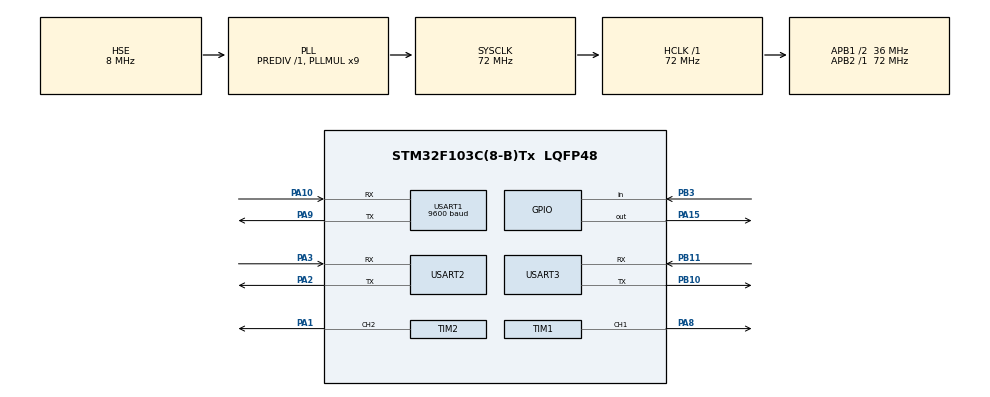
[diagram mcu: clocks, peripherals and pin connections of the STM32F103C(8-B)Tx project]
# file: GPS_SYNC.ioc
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Dma.Request0=USART3_TX
Dma.Request1=USART3_RX
Dma.Request2=USART2_RX
Dma.Request3=USART2_TX
Dma.USART2_RX.2.Direction=DMA_PERIPH_TO_MEMORY
Dma.USART2_RX.2.Instance=DMA1_Channel6
Dma.USART2_RX.2.MemDataAlignment=DMA_MDATAALIGN_BYTE
Dma.USART2_RX.2.MemInc=DMA_MINC_ENABLE
Dma.USART2_RX.2.Mode=DMA_CIRCULAR
Dma.USART2_RX.2.PeriphDataAlignment=DMA_PDATAALIGN_BYTE
Dma.USART2_RX.2.PeriphInc=DMA_PINC_DISABLE
Dma.USART2_RX.2.Priority=DMA_PRIORITY_VERY_HIGH
Dma.USART2_TX.3.Direction=DMA_MEMORY_TO_PERIPH
Dma.USART2_TX.3.Instance=DMA1_Channel7
Dma.USART2_TX.3.MemDataAlignment=DMA_MDATAALIGN_BYTE
Dma.USART2_TX.3.MemInc=DMA_MINC_ENABLE
Dma.USART2_TX.3.Mode=DMA_NORMAL
Dma.USART2_TX.3.PeriphDataAlignment=DMA_PDATAALIGN_BYTE
Dma.USART2_TX.3.PeriphInc=DMA_PINC_DISABLE
Dma.USART2_TX.3.Priority=DMA_PRIORITY_VERY_HIGH
Dma.USART3_RX.1.Direction=DMA_PERIPH_TO_MEMORY
Dma.USART3_RX.1.Instance=DMA1_Channel3
Dma.USART3_RX.1.MemDataAlignment=DMA_MDATAALIGN_BYTE
Dma.USART3_RX.1.MemInc=DMA_MINC_ENABLE
Dma.USART3_RX.1.Mode=DMA_CIRCULAR
Dma.USART3_RX.1.PeriphDataAlignment=DMA_PDATAALIGN_BYTE
Dma.USART3_RX.1.PeriphInc=DMA_PINC_DISABLE
Dma.USART3_RX.1.Priority=DMA_PRIORITY_VERY_HIGH
Dma.USART3_TX.0.Direction=DMA_MEMORY_TO_PERIPH
Dma.USART3_TX.0.Instance=DMA1_Channel2
Dma.USART3_TX.0.MemDataAlignment=DMA_MDATAALIGN_BYTE
Dma.USART3_TX.0.MemInc=DMA_MINC_ENABLE
Dma.USART3_TX.0.Mode=DMA_NORMAL
Dma.USART3_TX.0.PeriphDataAlignment=DMA_PDATAALIGN_BYTE
Dma.USART3_TX.0.PeriphInc=DMA_PINC_DISABLE
Dma.USART3_TX.0.Priority=DMA_PRIORITY_VERY_HIGH
Mcu.Family=STM32F1
Mcu.Name=STM32F103C(8-B)Tx
Mcu.Package=LQFP48
NVIC.DMA1_Channel2_IRQn=true\:0\:0\:false\:false\:true\:false\:true\:true
NVIC.DMA1_Channel3_IRQn=true\:0\:0\:false\:false\:true\:false\:true\:true
NVIC.DMA1_Channel6_IRQn=true\:0\:0\:false\:false\:true\:false\:true\:true
NVIC.DMA1_Channel7_IRQn=true\:0\:0\:false\:false\:true\:false\:true\:true
NVIC.PriorityGroup=NVIC_PRIORITYGROUP_4
NVIC.TIM1_UP_IRQn=true\:0\:0\:false\:false\:true\:true\:true\:true
NVIC.TIM2_IRQn=true\:0\:0\:false\:false\:true\:true\:true\:true
NVIC.TIM3_IRQn=true\:0\:0\:false\:false\:true\:true\:true\:true
NVIC.TIM4_IRQn=true\:0\:0\:false\:false\:true\:true\:true\:true
NVIC.USART1_IRQn=true\:0\:0\:false\:false\:true\:true\:true\:true
NVIC.USART2_IRQn=true\:0\:0\:false\:false\:true\:true\:true\:true
NVIC.USART3_IRQn=true\:0\:0\:false\:false\:true\:true\:true\:true
PA1.Signal=S_TIM2_CH2
PA10.Mode=Asynchronous
PA10.Signal=USART1_RX
PA13.Mode=Serial_Wire
PA13.Signal=SYS_JTMS-SWDIO
PA14.Mode=Serial_Wire
PA14.Signal=SYS_JTCK-SWCLK
PA15.GPIO_Speed=GPIO_SPEED_FREQ_HIGH
PA15.PinState=GPIO_PIN_SET
PA15.Signal=GPIO_Output
PA2.Mode=Asynchronous
PA2.Signal=USART2_TX
PA3.Mode=Asynchronous
PA3.Signal=USART2_RX
PA8.Signal=S_TIM1_CH1
PA9.Mode=Asynchronous
PA9.Signal=USART1_TX
PB10.Mode=Asynchronous
PB10.Signal=USART3_TX
PB11.Mode=Asynchronous
PB11.Signal=USART3_RX
PB3.Signal=GPIO_Input
PB5.Signal=S_TIM3_CH2
PD0-OSC_IN.Mode=HSE-External-Oscillator
PD0-OSC_IN.Signal=RCC_OSC_IN
PD1-OSC_OUT.Mode=HSE-External-Oscillator
PD1-OSC_OUT.Signal=RCC_OSC_OUT
ProjectManager.HeapSize=0x200
ProjectManager.StackSize=0x400
ProjectManager.TargetToolchain=MDK-ARM V5.32
RCC.AHBFreq_Value=72000000
RCC.APB1CLKDivider=RCC_HCLK_DIV2
RCC.APB1Freq_Value=36000000
RCC.APB1TimFreq_Value=72000000
RCC.APB2Freq_Value=72000000
RCC.APB2TimFreq_Value=72000000
RCC.HCLKFreq_Value=72000000
RCC.PLLMUL=RCC_PLL_MUL9
RCC.PLLSourceVirtual=RCC_PLLSOURCE_HSE
RCC.SYSCLKFreq_VALUE=72000000
RCC.SYSCLKSource=RCC_SYSCLKSOURCE_PLLCLK
RCC.USBFreq_Value=72000000
SH.S_TIM1_CH1.0=TIM1_CH1,PWM Generation1 CH1
SH.S_TIM2_CH2.0=TIM2_CH2,PWM Generation2 CH2
SH.S_TIM3_CH2.0=TIM3_CH2
TIM1.Channel-PWM\ Generation1\ CH1=TIM_CHANNEL_1
TIM1.Period=9999
TIM1.Prescaler=7199
TIM2.AutoReloadPreload=TIM_AUTORELOAD_PRELOAD_DISABLE
TIM2.Channel-PWM\ Generation2\ CH2=TIM_CHANNEL_2
TIM2.Period=999
TIM2.Prescaler=7199
TIM2.Pulse-PWM\ Generation2\ CH2=500
TIM2.TIM_MasterOutputTrigger=TIM_TRGO_RESET
TIM3.Period=999
TIM3.Prescaler=7199
TIM4.AutoReloadPreload=TIM_AUTORELOAD_PRELOAD_ENABLE
TIM4.Period=99
TIM4.Prescaler=7199
USART1.BaudRate=9600
USART1.VirtualMode=VM_ASYNC
USART2.VirtualMode=VM_ASYNC
USART3.VirtualMode=VM_ASYNC
VP_TIM1_VS_ClockSourceINT.Mode=Internal
VP_TIM3_VS_ClockSourceINT.Mode=Internal
VP_TIM4_VS_ClockSourceINT.Mode=Internal
board=custom

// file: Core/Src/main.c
/* USER CODE BEGIN Header */
/**
  ******************************************************************************
  * @file           : main.c
  * @brief          : Main program body
  ******************************************************************************
  * @attention
  *
  * Copyright (c) 2025 STMicroelectronics.
  * All rights reserved.
  *
  * This software is licensed under terms that can be found in the LICENSE file
  * in the root directory of this software component.
  * If no LICENSE file comes with this software, it is provided AS-IS.
  *
  ******************************************************************************
  */
/* USER CODE END Header */
#include "main.h"
#include "dma.h"
#include "tim.h"
#include "usart.h"
#include "gpio.h"

/* USER CODE BEGIN Includes */
#include "gps.h"
/* USER CODE END Includes */

void SystemClock_Config(void);

/* USER CODE BEGIN 0 */
extern uint16_t USART3_RX_STA;
uint8_t USART3_RX_BUF[USART3_MAX_RECV_LEN];
uint8_t USART2_RX_BUF[USART2_MAX_RECV_LEN];
nmea_msg gpsx;
nvidia_packet gps_send;
gps_packet gps_receive;
uint8_t start_flag = 0;
/* USER CODE END 0 */

int main(void)
{

  /* MCU Configuration--------------------------------------------------------*/

  /* Reset of all peripherals, Initializes the Flash interface and the Systick. */
  HAL_Init();

  /* Configure the system clock */
  SystemClock_Config();

  /* Initialize all configured peripherals */
  MX_GPIO_Init();
  MX_DMA_Init();
  MX_USART3_UART_Init();
  MX_USART1_UART_Init();
  MX_TIM2_Init();
  MX_TIM1_Init();
  MX_TIM4_Init();
  MX_USART2_UART_Init();
  MX_TIM3_Init();
  /* USER CODE BEGIN 2 */
	__HAL_UART_ENABLE_IT(&huart2, UART_IT_RXNE);
	HAL_UART_Receive_DMA(&huart2, USART2_RX_BUF, USART2_MAX_RECV_LEN);
	HAL_UART_Receive_IT(&huart2, USART2_RX_BUF, USART2_MAX_RECV_LEN);

	__HAL_UART_ENABLE_IT(&huart3, UART_IT_RXNE);
	HAL_UART_Receive_DMA(&huart3, USART3_RX_BUF, USART3_MAX_RECV_LEN);
	HAL_UART_Receive_IT(&huart3, USART3_RX_BUF, USART3_MAX_RECV_LEN);

	HAL_TIM_Base_Start_IT(&htim1);
	HAL_TIM_Base_Start(&htim1);
	HAL_TIM_PWM_Start(&htim1, TIM_CHANNEL_1);
	__HAL_TIM_SetCompare(&htim1, TIM_CHANNEL_1, 0);

	HAL_TIM_Base_Start(&htim2);
	HAL_TIM_PWM_Start(&htim2, TIM_CHANNEL_2);
	__HAL_TIM_SetCompare(&htim2, TIM_CHANNEL_2, 0);

	HAL_TIM_Base_Start_IT(&htim3);
	HAL_TIM_Base_Start_IT(&htim4);

	//先启动GPS串口，等待10s启动PWM输出，保证开启时间同步
	HAL_Delay(10000);
	start_flag = 1;

	__HAL_TIM_SetCompare(&htim1, TIM_CHANNEL_1, __HAL_TIM_GET_AUTORELOAD(&htim1) / 2);

  /* USER CODE END 2 */

  /* Infinite loop */
  while (1)
  {

    /* USER CODE BEGIN 3 */
		if(USART3_RX_STA & 0X8000)
		{
 			USART3_RX_STA=0;
			GPS_Analysis(&gpsx,(uint8_t*)USART3_RX_BUF);
		}
		HAL_Delay(1);
  }
  /* USER CODE END 3 */
}

void SystemClock_Config(void)
{
  RCC_OscInitTypeDef RCC_OscInitStruct = {0};
  RCC_ClkInitTypeDef RCC_ClkInitStruct = {0};

  /** Initializes the RCC Oscillators according to the specified parameters
  * in the RCC_OscInitTypeDef structure.
  */
  RCC_OscInitStruct.OscillatorType = RCC_OSCILLATORTYPE_HSE;
  RCC_OscInitStruct.HSEState = RCC_HSE_ON;
  RCC_OscInitStruct.HSEPredivValue = RCC_HSE_PREDIV_DIV1;
  RCC_OscInitStruct.HSIState = RCC_HSI_ON;
  RCC_OscInitStruct.PLL.PLLState = RCC_PLL_ON;
  RCC_OscInitStruct.PLL.PLLSource = RCC_PLLSOURCE_HSE;
  RCC_OscInitStruct.PLL.PLLMUL = RCC_PLL_MUL9;
  if (HAL_RCC_OscConfig(&RCC_OscInitStruct) != HAL_OK)
  {
    Error_Handler();
  }

  /** Initializes the CPU, AHB and APB buses clocks
  */
  RCC_ClkInitStruct.ClockType = RCC_CLOCKTYPE_HCLK|RCC_CLOCKTYPE_SYSCLK
                              |RCC_CLOCKTYPE_PCLK1|RCC_CLOCKTYPE_PCLK2;
  RCC_ClkInitStruct.SYSCLKSource = RCC_SYSCLKSOURCE_PLLCLK;
  RCC_ClkInitStruct.AHBCLKDivider = RCC_SYSCLK_DIV1;
  RCC_ClkInitStruct.APB1CLKDivider = RCC_HCLK_DIV2;
  RCC_ClkInitStruct.APB2CLKDivider = RCC_HCLK_DIV1;

  if (HAL_RCC_ClockConfig(&RCC_ClkInitStruct, FLASH_LATENCY_2) != HAL_OK)
  {
    Error_Handler();
  }
}

/* USER CODE BEGIN 4 */
void HAL_TIM_PeriodElapsedCallback(TIM_HandleTypeDef *htim)
{
    if(htim->Instance == TIM4)
    {
        USART3_RX_STA |= (1 << 15);
        HAL_TIM_Base_Stop_IT(&htim4);
    }
}
/* USER CODE END 4 */

void Error_Handler(void)
{
  __disable_irq();
  while (1)
  {
  }
}
